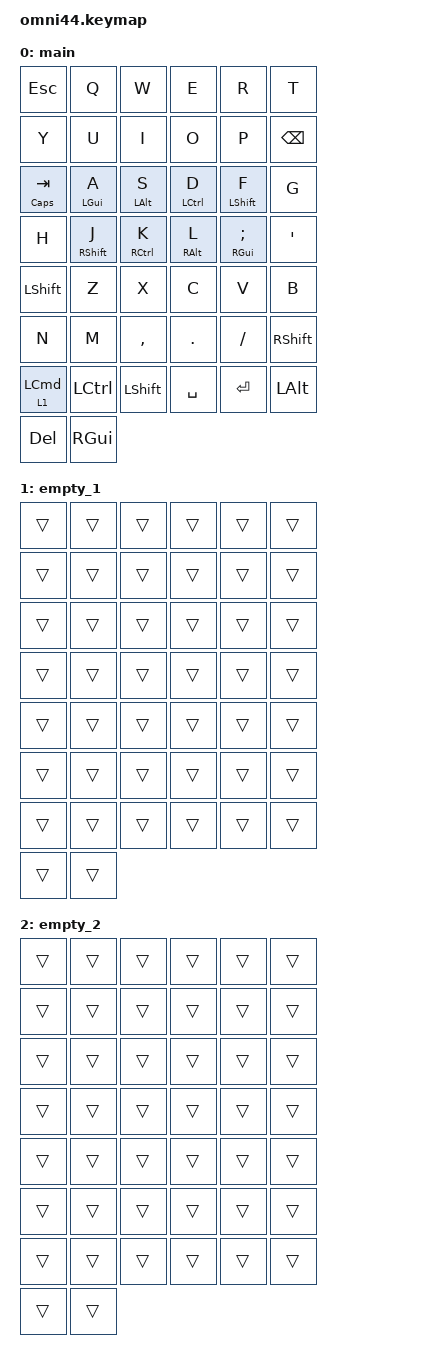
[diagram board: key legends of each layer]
/*
 * Omni44 v3 keymap.
 *
 * The matrix transform exposes all 44 physical keys: three 12-key rows and
 * four thumb keys per half. Unlike the Jorne layout, there are no phantom
 * positions.
 */

#include <behaviors.dtsi>
#include <input/processors.dtsi>
#include <zephyr/dt-bindings/input/input-event-codes.h>
#include <dt-bindings/zmk/bt.h>
#include <dt-bindings/zmk/keys.h>
#include <dt-bindings/zmk/outputs.h>
#include <dt-bindings/zmk/pointing.h>

&zip_button_behaviors {
    codes = <INPUT_BTN_0 INPUT_BTN_1 INPUT_BTN_2 INPUT_KEY_0 INPUT_KEY_1>;
    bindings = <&none &none &mkp MCLK &msc SCRL_DOWN &msc SCRL_RIGHT>;
};

&joystick_button_listener {
    input-processors = <&zip_button_behaviors>;
};

&joystick_button_split_listener {
    input-processors = <&zip_button_behaviors>;
};

&joystick_axes_listener {
    input-processors = <&zip_button_behaviors>;
};

&joystick_axes_split_listener {
    input-processors = <&zip_button_behaviors>;
};

/ {
    combos {
        compatible = "zmk,combos";

        combo_game {
            bindings = <&tog 0>;
            key-positions = <37 41>;
            timeout-ms = <200>;
        };

        game_esc {
            bindings = <&kp ESC>;
            key-positions = <1 2>;
        };
    };

    behaviors {
        hml: hml {
            compatible = "zmk,behavior-hold-tap";
            label = "HML";
            bindings = <&kp>, <&kp>;
            #binding-cells = <2>;
            tapping-term-ms = <220>;
            quick-tap-ms = <175>;
            flavor = "balanced";
            require-prior-idle-ms = <100>;
            hold-trigger-key-positions = <0 1 2 3 4 5 6 7 8 9 10 11 19 20 21 22 23 25 26 27 28 29 30 31 32 33 34 35 40 41 42 43>;
            hold-trigger-on-release;
        };

        hmr: hmr {
            compatible = "zmk,behavior-hold-tap";
            label = "HMR";
            bindings = <&kp>, <&kp>;
            #binding-cells = <2>;
            tapping-term-ms = <220>;
            quick-tap-ms = <175>;
            flavor = "balanced";
            require-prior-idle-ms = <100>;
            hold-trigger-key-positions = <0 1 2 3 4 5 6 7 8 9 10 11 12 13 14 15 16 17 18 24 25 26 27 28 29 30 31 32 33 34 35 36 37 38 39>;
            hold-trigger-on-release;
        };

        tkl: tkl {
            compatible = "zmk,behavior-hold-tap";
            label = "TKL";
            bindings = <&mo>, <&kp>;
            #binding-cells = <2>;
            tapping-term-ms = <220>;
            quick-tap-ms = <175>;
            flavor = "balanced";
            require-prior-idle-ms = <100>;
            hold-trigger-on-release;
        };

        tkr: tkr {
            compatible = "zmk,behavior-hold-tap";
            label = "TKR";
            bindings = <&mo>, <&kp>;
            #binding-cells = <2>;
            tapping-term-ms = <220>;
            quick-tap-ms = <175>;
            flavor = "balanced";
            require-prior-idle-ms = <100>;
            hold-trigger-on-release;
        };
    };

    keymap {
        compatible = "zmk,keymap";

        main {
            bindings = <
                &kp ESC       &kp Q        &kp W        &kp E        &kp R        &kp T
                &kp Y         &kp U        &kp I        &kp O        &kp P        &kp BACKSPACE
                &mt CAPSLOCK TAB          &hml LEFT_GUI A &hml LEFT_ALT S &hml LEFT_CONTROL D &hml LEFT_SHIFT F &kp G
                &kp H         &hmr RIGHT_SHIFT J &hmr RIGHT_CONTROL K &hmr RIGHT_ALT L &hmr RIGHT_GUI SEMICOLON &kp SINGLE_QUOTE
                &kp LEFT_SHIFT &kp Z       &kp X        &kp C        &kp V        &kp B
                &kp N         &kp M        &kp COMMA    &kp DOT      &kp FSLH     &kp RIGHT_SHIFT
                &lt 1 LEFT_COMMAND &kp LEFT_CONTROL &kp LEFT_SHIFT &kp SPACE &kp ENTER &kp LEFT_ALT
                &kp DELETE &kp RIGHT_GUI
            >;
        };

        empty_1 {
            bindings = <
                &trans &trans &trans &trans &trans &trans
                &trans &trans &trans &trans &trans &trans
                &trans &trans &trans &trans &trans &trans
                &trans &trans &trans &trans &trans &trans
                &trans &trans &trans &trans &trans &trans
                &trans &trans &trans &trans &trans &trans
                &trans &trans &trans &trans &trans &trans
                &trans &trans
            >;
        };

        empty_2 {
            bindings = <
                &trans &trans &trans &trans &trans &trans
                &trans &trans &trans &trans &trans &trans
                &trans &trans &trans &trans &trans &trans
                &trans &trans &trans &trans &trans &trans
                &trans &trans &trans &trans &trans &trans
                &trans &trans &trans &trans &trans &trans
                &trans &trans &trans &trans &trans &trans
                &trans &trans
            >;
        };
    };
};
